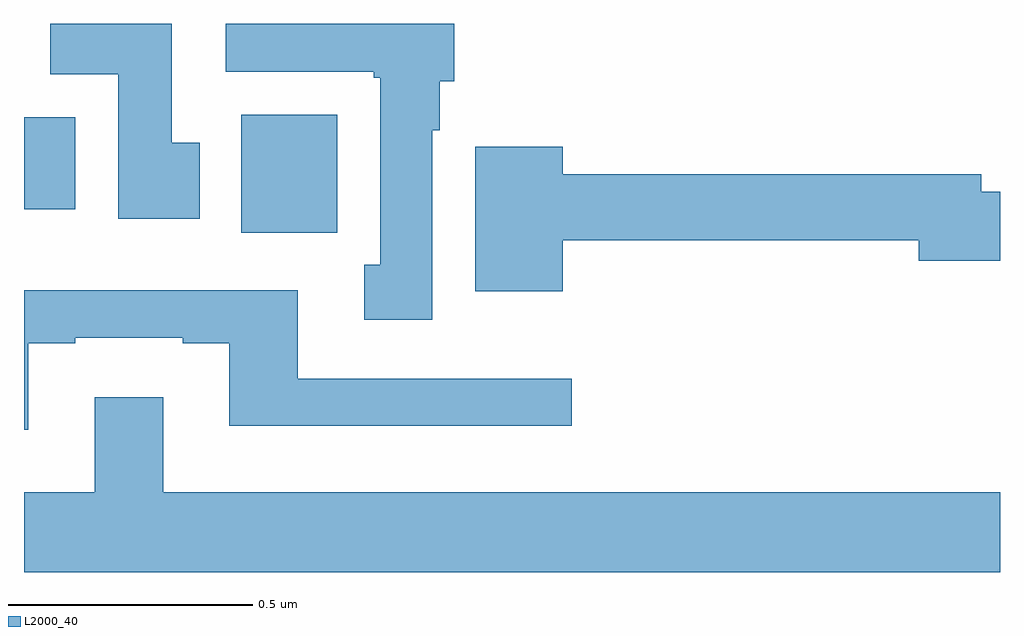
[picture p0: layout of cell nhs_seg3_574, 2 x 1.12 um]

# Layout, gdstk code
import gdstk
lib = gdstk.Library(unit=1e-6, precision=1e-09)
def R(c, l, rs):  # rectangles x0, y0, x1, y1
    for r in rs: c.add(gdstk.rectangle(r[:2], r[2:], *l))
def P(c, l, *ps):  # polygons
    for p in ps: c.add(gdstk.Polygon(p, *l))
L2000_40 = (2000, 40)

nhs_seg3_574 = lib.new_cell('nhs_seg3_574')
R(nhs_seg3_574, L2000_40, [(118.445,674.972,118.642,675.214), (118,675.02,118.105,675.208)])
P(nhs_seg3_574, L2000_40, [(118.837,675.182),(118.852,675.182),(118.852,675.282),(118.882,675.282),(118.882,675.4),(118.413,675.4),(118.413,675.302),(118.717,675.302),(118.717,675.289),(118.73,675.289),(118.73,674.906),(118.697,674.906),(118.697,674.793),(118.837,674.793)],
  [(118.36,675.156),(118.303,675.156),(118.303,675.4),(118.054,675.4),(118.054,675.296),(118.193,675.296),(118.193,675),(118.36,675)],
  [(119.104,674.956),(119.834,674.956),(119.834,674.914),(120,674.914),(120,675.056),(119.962,675.056),(119.962,675.092),(119.104,675.092),(119.104,675.148),(118.925,675.148),(118.925,674.852),(119.104,674.852)],
  [(118.009,674.745),(118.105,674.745),(118.105,674.757),(118.325,674.757),(118.325,674.745),(118.421,674.745),(118.421,674.576),(119.122,674.576),(119.122,674.673),(118.561,674.673),(118.561,674.854),(118,674.854),(118,674.568),(118.009,674.568)],
  [(120,674.44),(118.285,674.44),(118.285,674.635),(118.145,674.635),(118.145,674.44),(118,674.44),(118,674.276),(120,674.276)])

lib.write_gds('nhs_seg3_574.gds')
